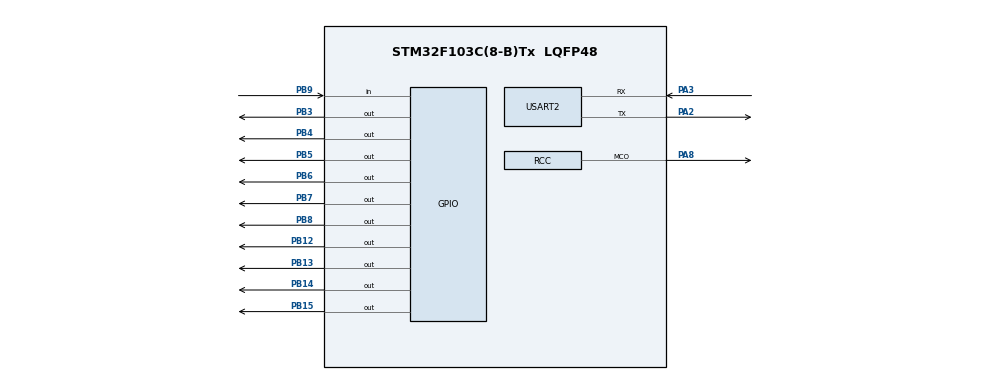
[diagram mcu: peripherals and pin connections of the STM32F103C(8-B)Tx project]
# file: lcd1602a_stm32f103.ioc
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Dma.Request0=TIM2_UP
Dma.TIM2_UP.0.Direction=DMA_MEMORY_TO_PERIPH
Dma.TIM2_UP.0.Instance=DMA1_Channel2
Dma.TIM2_UP.0.MemDataAlignment=DMA_MDATAALIGN_WORD
Dma.TIM2_UP.0.MemInc=DMA_MINC_ENABLE
Dma.TIM2_UP.0.Mode=DMA_NORMAL
Dma.TIM2_UP.0.PeriphDataAlignment=DMA_PDATAALIGN_WORD
Dma.TIM2_UP.0.PeriphInc=DMA_PINC_DISABLE
Dma.TIM2_UP.0.Priority=DMA_PRIORITY_LOW
Mcu.Family=STM32F1
Mcu.Name=STM32F103C(8-B)Tx
Mcu.Package=LQFP48
NVIC.DMA1_Channel2_IRQn=true\:0\:0\:false
NVIC.PriorityGroup=NVIC_PRIORITYGROUP_4
PA2.Mode=Asynchronous
PA2.Signal=USART2_TX
PA3.Mode=Asynchronous
PA3.Signal=USART2_RX
PA8.Mode=Clock-out
PA8.Signal=RCC_MCO
PB12.Signal=GPIO_Output
PB13.Signal=GPIO_Output
PB14.Signal=GPIO_Output
PB15.Signal=GPIO_Output
PB3.Signal=GPIO_Output
PB4.Signal=GPIO_Output
PB5.Signal=GPIO_Output
PB6.Signal=GPIO_Output
PB7.Signal=GPIO_Output
PB8.Signal=GPIO_Output
PB9.Signal=GPIO_Input
PC14-OSC32_IN.Mode=LSE-External-Oscillator
PC14-OSC32_IN.Signal=RCC_OSC32_IN
PC15-OSC32_OUT.Mode=LSE-External-Oscillator
PC15-OSC32_OUT.Signal=RCC_OSC32_OUT
PD0-OSC_IN.Mode=HSE-External-Oscillator
PD0-OSC_IN.Signal=RCC_OSC_IN
PD1-OSC_OUT.Mode=HSE-External-Oscillator
PD1-OSC_OUT.Signal=RCC_OSC_OUT
ProjectManager.HeapSize=0x400
ProjectManager.StackSize=0x200
ProjectManager.TargetToolchain=Other Toolchains (GPDSC)
RCC.APB1Freq_Value=8000000
RCC.APB2Freq_Value=8000000
VP_TIM2_VS_ClockSourceINT.Mode=Internal
board=lcd1602a_stm32f103

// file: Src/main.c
/**
  ******************************************************************************
  * File Name          : main.c
  * Description        : Main program body
  ******************************************************************************
  *
  * COPYRIGHT(c) 2016 STMicroelectronics
  *
  * Redistribution and use in source and binary forms, with or without modification,
  * are permitted provided that the following conditions are met:
  *   1. Redistributions of source code must retain the above copyright notice,
  *      this list of conditions and the following disclaimer.
  *   2. Redistributions in binary form must reproduce the above copyright notice,
  *      this list of conditions and the following disclaimer in the documentation
  *      and/or other materials provided with the distribution.
  *   3. Neither the name of STMicroelectronics nor the names of its contributors
  *      may be used to endorse or promote products derived from this software
  *      without specific prior written permission.
  *
  * THIS SOFTWARE IS PROVIDED BY THE COPYRIGHT HOLDERS AND CONTRIBUTORS "AS IS"
  * AND ANY EXPRESS OR IMPLIED WARRANTIES, INCLUDING, BUT NOT LIMITED TO, THE
  * IMPLIED WARRANTIES OF MERCHANTABILITY AND FITNESS FOR A PARTICULAR PURPOSE ARE
  * DISCLAIMED. IN NO EVENT SHALL THE COPYRIGHT HOLDER OR CONTRIBUTORS BE LIABLE
  * FOR ANY DIRECT, INDIRECT, INCIDENTAL, SPECIAL, EXEMPLARY, OR CONSEQUENTIAL
  * DAMAGES (INCLUDING, BUT NOT LIMITED TO, PROCUREMENT OF SUBSTITUTE GOODS OR
  * SERVICES; LOSS OF USE, DATA, OR PROFITS; OR BUSINESS INTERRUPTION) HOWEVER
  * CAUSED AND ON ANY THEORY OF LIABILITY, WHETHER IN CONTRACT, STRICT LIABILITY,
  * OR TORT (INCLUDING NEGLIGENCE OR OTHERWISE) ARISING IN ANY WAY OUT OF THE USE
  * OF THIS SOFTWARE, EVEN IF ADVISED OF THE POSSIBILITY OF SUCH DAMAGE.
  *
  ******************************************************************************
  */
#include "stm32f1xx_hal.h"
#include "dma.h"
#include "tim.h"
#include "usart.h"
#include "gpio.h"

/* USER CODE BEGIN Includes */
#include "lcd1602a_stm32.h"
/* USER CODE END Includes */

/* USER CODE BEGIN PV */
/* Private variables ---------------------------------------------------------*/

/* USER CODE END PV */

void SystemClock_Config(void);

/* USER CODE BEGIN PFP */
/* Private function prototypes -----------------------------------------------*/

/* USER CODE END PFP */

/* USER CODE BEGIN 0 */
/*Define some stack*/
#define STACK_SIZE 512
/*Looks ugly. Probably need a macro*/
__attribute__((section(".stack"))) __attribute__((used)) static uint8_t stack[STACK_SIZE]  = {};

static void gpio_write(GPIO_TypeDef* port, uint16_t pin, unsigned int state)
{
	HAL_GPIO_WritePin(port, pin, (GPIO_PinState)state);
}

static unsigned int gpio_read(GPIO_TypeDef* port, uint16_t pin)
{
	return HAL_GPIO_ReadPin(port, pin);
}

static void wait_ns(unsigned int ns)
{
	HAL_Delay(ns/1000000 + 1);
}

lcd1602a_ctx_t lcd = {
		.interface = LCD1602A_INTERFACE_8B,
		.gpio_write_pin = gpio_write,
		.gpio_read_pin = gpio_read,
		.wait_ns = wait_ns,
		.e_pin = {
			.port = GPIOB,
			.pin = GPIO_PIN_13,
		},
		.rs_pin = {
			.port = GPIOB,
			.pin = GPIO_PIN_15,
		},
		.rw_pin = {
			.port = GPIOB,
			.pin = GPIO_PIN_14,
		},
		.data_pins = {
				{ GPIOB,GPIO_PIN_3},
				{ GPIOB,GPIO_PIN_4},
				{ GPIOB,GPIO_PIN_10},
				{ GPIOB,GPIO_PIN_6},
				{ GPIOB,GPIO_PIN_7},
				{ GPIOB,GPIO_PIN_8},
				{ GPIOB,GPIO_PIN_9},
				{ GPIOB,GPIO_PIN_12},
		},
};

ssize_t _write (int fd, const void * buf, size_t count)
{
    lcd1602a_print_data(&lcd, buf, count);
    return count;
}
/* USER CODE END 0 */

int main(void)
{

  /* MCU Configuration----------------------------------------------------------*/

  /* Reset of all peripherals, Initializes the Flash interface and the Systick. */
  HAL_Init();

  /* Configure the system clock */
  SystemClock_Config();

  /* Initialize all configured peripherals */
  MX_DMA_Init();
  MX_TIM2_Init();
  MX_USART2_UART_Init();
  MX_GPIO_Init();

  /* USER CODE BEGIN 2 */
  __HAL_AFIO_REMAP_SWJ_NOJTAG();
  lcd1602a_init(&lcd);
  printf("0x%X %u %s", 25, lcd.interface, "New Test");
  fflush(stdout);
  /* USER CODE END 2 */

  /* Infinite loop */
  while (1)
  {

  }

}

/** System Clock Configuration
*/
void SystemClock_Config(void)
{

  RCC_OscInitTypeDef RCC_OscInitStruct;
  RCC_ClkInitTypeDef RCC_ClkInitStruct;

  RCC_OscInitStruct.OscillatorType = RCC_OSCILLATORTYPE_HSI;
  RCC_OscInitStruct.HSIState = RCC_HSI_ON;
  RCC_OscInitStruct.HSICalibrationValue = 16;
  RCC_OscInitStruct.PLL.PLLState = RCC_PLL_NONE;
  HAL_RCC_OscConfig(&RCC_OscInitStruct);

  RCC_ClkInitStruct.ClockType = RCC_CLOCKTYPE_HCLK|RCC_CLOCKTYPE_SYSCLK
                              |RCC_CLOCKTYPE_PCLK1|RCC_CLOCKTYPE_PCLK2;
  RCC_ClkInitStruct.SYSCLKSource = RCC_SYSCLKSOURCE_HSI;
  RCC_ClkInitStruct.AHBCLKDivider = RCC_SYSCLK_DIV1;
  RCC_ClkInitStruct.APB1CLKDivider = RCC_HCLK_DIV1;
  RCC_ClkInitStruct.APB2CLKDivider = RCC_HCLK_DIV1;
  HAL_RCC_ClockConfig(&RCC_ClkInitStruct, FLASH_LATENCY_0);

  HAL_RCC_MCOConfig(RCC_MCO, RCC_MCO1SOURCE_SYSCLK, RCC_MCODIV_1);

  HAL_SYSTICK_Config(HAL_RCC_GetHCLKFreq()/1000);

  HAL_SYSTICK_CLKSourceConfig(SYSTICK_CLKSOURCE_HCLK);

  /* SysTick_IRQn interrupt configuration */
  HAL_NVIC_SetPriority(SysTick_IRQn, 0, 0);
}

/************************ (C) COPYRIGHT STMicroelectronics *****END OF FILE****/
